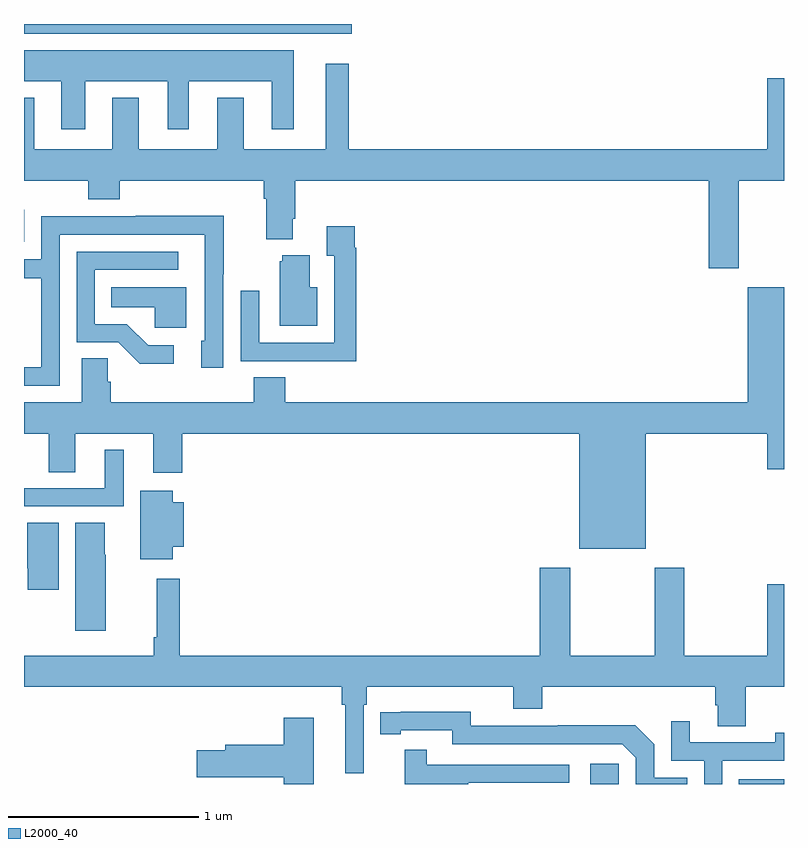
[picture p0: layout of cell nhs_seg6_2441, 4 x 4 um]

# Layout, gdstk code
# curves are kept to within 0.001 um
import gdstk
lib = gdstk.Library(unit=1e-6, precision=1e-09)
def R(c, l, rs):  # rectangles x0, y0, x1, y1
    for r in rs: c.add(gdstk.rectangle(r[:2], r[2:], *l))
def P(c, l, *ps):  # polygons
    for p in ps: c.add(gdstk.Polygon(p, *l))
L2000_40 = (2000, 40)

nhs_seg6_2441 = lib.new_cell('nhs_seg6_2441')
R(nhs_seg6_2441, L2000_40, [(259.98,937.5,260.13,937.606), (260.761,937.5,261,937.524), (257,940.353,257.001,940.522), (257,941.45,258.724,941.5)])
P(nhs_seg6_2441, L2000_40, [(257.323,941.198),(257.756,941.198),(257.756,940.947),(257.866,940.947),(257.866,941.198),(258.305,941.198),(258.305,940.947),(258.421,940.947),(258.421,941.362),(257,941.362),(257,941.198),(257.195,941.198),(257.195,940.947),(257.323,940.947)],
  [(260.763,940.676),(261,940.676),(261,941.215),(260.912,941.215),(260.912,940.84),(258.709,940.84),(258.709,941.29),(258.587,941.29),(258.587,940.84),(258.157,940.84),(258.157,941.113),(258.017,941.113),(258.017,940.84),(257.605,940.84),(257.605,941.113),(257.465,941.113),(257.465,940.84),(257.053,940.84),(257.053,941.113),(257,941.113),(257,940.676),(257.339,940.676),(257.339,940.577),(257.504,940.577),(257.504,940.676),(258.263,940.676),(258.263,940.58),(258.275,940.58),(258.275,940.367),(258.415,940.367),(258.415,940.474),(258.428,940.474),(258.428,940.676),(260.603,940.676),(260.603,940.215),(260.763,940.215)],
  [(257.187,940.392),(257.951,940.392),(257.951,940.165),(257.952,940.165),(257.952,939.834),(257.933,939.834),(257.933,939.69),(258.048,939.69),(258.048,940.183),(258.051,940.183),(258.051,940.49),(257.587,940.49),(257.587,940.488),(257.091,940.488),(257.091,940.263),(257,940.263),(257,940.162),(257.091,940.162),(257.091,939.693),(257,939.693),(257,939.597),(257.187,939.597)],
  [(258.749,940.322),(258.742,940.322),(258.742,940.435),(258.593,940.435),(258.593,940.279),(258.633,940.279),(258.633,939.822),(258.237,939.822),(258.237,940.096),(258.141,940.096),(258.141,939.726),(258.457,939.726),(258.457,939.725),(258.749,939.725)],
  [(257.788,939.81),(257.653,939.81),(257.542,939.921),(257.373,939.921),(257.373,940.206),(257.812,940.206),(257.812,940.302),(257.277,940.302),(257.277,939.825),(257.496,939.825),(257.609,939.713),(257.788,939.713)],
  [(258.544,940.114),(258.505,940.114),(258.505,940.282),(258.359,940.282),(258.359,940.251),(258.347,940.251),(258.347,939.911),(258.544,939.911)],
  [(260.272,939.344),(260.912,939.344),(260.912,939.156),(261,939.156),(261,940.114),(260.81,940.114),(260.81,939.508),(258.374,939.508),(258.374,939.641),(258.209,939.641),(258.209,939.508),(257.456,939.508),(257.456,939.617),(257.442,939.617),(257.442,939.74),(257.303,939.74),(257.303,939.508),(257,939.508),(257,939.344),(257.129,939.344),(257.129,939.142),(257.269,939.142),(257.269,939.344),(257.681,939.344),(257.681,939.138),(257.834,939.138),(257.834,939.344),(259.922,939.344),(259.922,938.738),(260.272,938.738)],
  [(257.854,940.114),(257.458,940.114),(257.458,940.01),(257.689,940.01),(257.689,939.902),(257.854,939.902)],
  [(257.524,939.259),(257.426,939.259),(257.426,939.057),(257,939.057),(257,938.961),(257.524,938.961)],
  [(257.783,938.75),(257.842,938.75),(257.842,938.983),(257.783,938.983),(257.783,939.043),(257.612,939.043),(257.612,938.682),(257.783,938.682)],
  [(257.431,938.706),(257.425,938.706),(257.425,938.876),(257.27,938.876),(257.27,938.307),(257.431,938.307)],
  [(257.182,938.876),(257.018,938.876),(257.018,938.635),(257.02,938.635),(257.02,938.523),(257.182,938.523)],
  [(258.789,937.916),(258.803,937.916),(258.803,938.012),(259.574,938.012),(259.574,937.895),(259.727,937.895),(259.727,938.012),(260.639,938.012),(260.639,937.914),(260.651,937.914),(260.651,937.804),(260.799,937.804),(260.799,938.012),(261,938.012),(261,938.551),(260.912,938.551),(260.912,938.176),(260.475,938.176),(260.475,938.638),(260.32,938.638),(260.32,938.176),(259.875,938.176),(259.875,938.638),(259.715,938.638),(259.715,938.176),(257.819,938.176),(257.819,938.581),(257.698,938.581),(257.698,938.272),(257.683,938.272),(257.683,938.176),(257,938.176),(257,938.012),(258.673,938.012),(258.673,937.916),(258.692,937.916),(258.692,937.557),(258.789,937.557)],
  [(260.49,937.533),(260.316,937.533),(260.316,937.71),(260.218,937.808),(259.81,937.808),(259.81,937.806),(259.35,937.806),(259.35,937.879),(258.874,937.878),(258.874,937.762),(258.982,937.762),(258.982,937.782),(259.254,937.782),(259.254,937.71),(260.148,937.71),(260.22,937.638),(260.22,937.5),(260.49,937.5)],
  [(258.526,937.849),(258.368,937.849),(258.368,937.707),(258.059,937.707),(258.059,937.677),(257.91,937.677),(257.91,937.535),(258.368,937.535),(258.368,937.5),(258.526,937.5)],
  [(260.676,937.623),(261,937.623),(261,937.771),(260.954,937.771),(260.954,937.719),(260.503,937.719),(260.503,937.831),(260.406,937.831),(260.406,937.623),(260.58,937.623),(260.58,937.5),(260.676,937.5)],
  [(259.337,937.506),(259.87,937.506),(259.87,937.602),(259.121,937.602),(259.121,937.681),(259.004,937.681),(259.004,937.5),(259.337,937.5)])

lib.write_gds('nhs_seg6_2441.gds')
